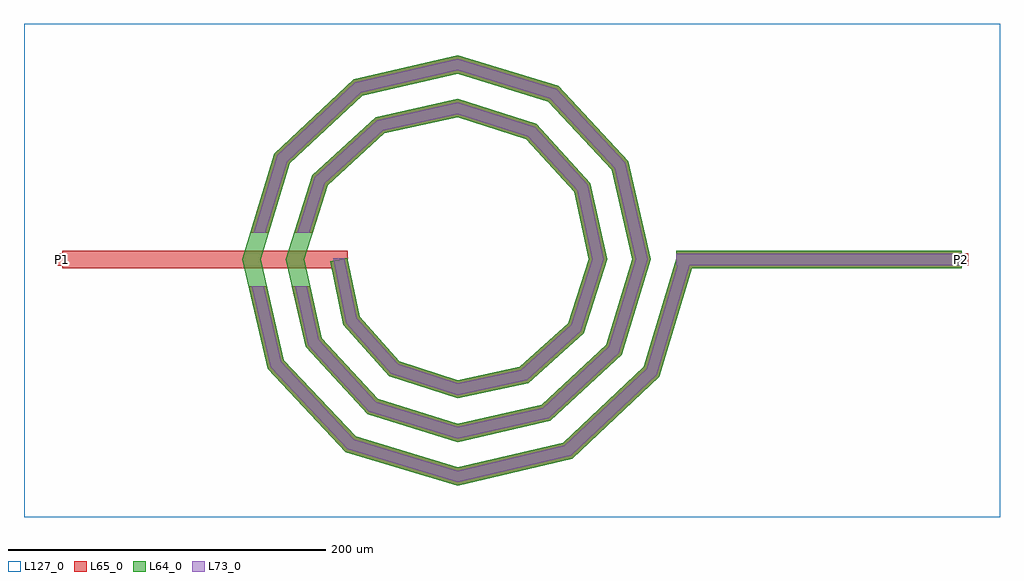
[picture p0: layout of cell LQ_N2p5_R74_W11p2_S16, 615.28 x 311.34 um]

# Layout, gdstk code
import gdstk
lib = gdstk.Library(unit=1e-6, precision=1e-09)
def R(c, l, rs):  # rectangles x0, y0, x1, y1
    for r in rs: c.add(gdstk.rectangle(r[:2], r[2:], *l))
def P(c, l, *ps):  # polygons
    for p in ps: c.add(gdstk.Polygon(p, *l))
L64_0 = (64, 0)
L65_0 = (65, 0)
L73_0 = (73, 0)
L127_0 = (127, 0)

lq_n2p5_r74_w11p2_s16 = lib.new_cell('LQ_N2p5_R74_W11p2_S16')
R(lq_n2p5_r74_w11p2_s16, L64_0, [(138.031,-5.6,318.031,5.6)])
P(lq_n2p5_r74_w11p2_s16, L64_0, [(-61.633,-35.955),(-36.552,-63.935),(0.303,-75.937),(39.37,-67.601),(69.878,-40.012),(82.815,0.28),(73.569,42.79),(43.469,75.823),(0.26,89.692),(-46.212,79.534),(-81.77,46.924),(-96.569,0.242),(-85.498,-49.636),(-50.376,-87.718),(0.227,-103.447),(53.062,-91.462),(93.667,-53.827),(110.325,0.214),(97.425,56.49),(57.277,99.617),(0.202,117.202),(-59.919,103.387),(-105.568,60.726),(-124.08,0.191),(-109.348,-63.349),(-64.173,-111.52),(0.181,-130.958),(66.78,-115.309),(117.472,-67.62),(138.268,1.611),(148.995,-1.611),(127.334,-73.719),(72.266,-125.525),(0.181,-142.548),(-70.287,-121.373),(-119.573,-68.819),(-135.67,0.191),(-115.411,66.857),(-65.371,113.621),(0.202,128.791),(63.427,109.448),(107.67,61.922),(121.913,0.214),(103.485,-59.999),(58.471,-101.719),(0.227,-115.034),(-56.572,-97.521),(-95.77,-55.019),(-108.156,0.242),(-91.556,53.146),(-51.565,89.821),(0.26,101.277),(49.722,85.59),(83.873,48.109),(94.398,0.28),(79.622,-46.301),(44.651,-77.927),(0.303,-87.519),(-42.883,-73.652),(-71.982,-41.188),(-80.332,-1.143),(-69.368,1.143)])
R(lq_n2p5_r74_w11p2_s16, L65_0, [(-249.25,-5.6,-69.25,5.6), (138.031,-5.6,318.031,5.6), (-253.25,-4,-245.25,4), (314.031,-4,322.031,4)])
P(lq_n2p5_r74_w11p2_s16, L65_0, [(-109.348,-63.349),(-64.173,-111.52),(0.181,-130.958),(66.78,-115.309),(117.472,-67.62),(138.268,1.611),(148.995,-1.611),(127.334,-73.719),(72.266,-125.525),(0.181,-142.548),(-70.287,-121.373),(-119.573,-68.819),(-131.707,-16.8),(-120.206,-16.8)],
  [(-85.499,-49.636),(-50.377,-87.718),(0.227,-103.447),(53.062,-91.462),(93.667,-53.827),(110.325,0.214),(97.425,56.49),(57.277,99.618),(0.202,117.202),(-59.919,103.387),(-105.568,60.726),(-118.917,16.8),(-130.623,16.8),(-115.411,66.857),(-65.371,113.621),(0.202,128.792),(63.427,109.448),(107.67,61.922),(121.913,0.214),(103.485,-59.999),(58.471,-101.72),(0.227,-115.034),(-56.572,-97.521),(-95.77,-55.019),(-104.336,-16.8),(-92.858,-16.8)],
  [(-36.552,-63.935),(0.303,-75.938),(39.37,-67.602),(69.878,-40.012),(82.815,0.28),(73.569,42.79),(43.469,75.823),(0.26,89.692),(-46.212,79.534),(-81.77,46.924),(-91.222,16.8),(-102.96,16.8),(-91.556,53.146),(-51.565,89.821),(0.26,101.277),(49.722,85.59),(83.873,48.109),(94.398,0.28),(79.622,-46.301),(44.651,-77.927),(0.303,-87.519),(-42.883,-73.652),(-71.982,-41.188),(-80.332,-1.143),(-69.368,1.143),(-61.633,-35.955)])
R(lq_n2p5_r74_w11p2_s16, L73_0, [(138.031,-3.6,318.031,3.6)])
P(lq_n2p5_r74_w11p2_s16, L73_0, [(-111.174,-64.326),(-65.265,-113.279),(0.117,-133.028),(67.76,-117.134),(119.233,-68.709),(140.184,1.036),(147.079,-1.036),(125.573,-72.63),(71.286,-123.701),(0.117,-140.479),(-69.196,-119.613),(-117.747,-67.842),(-129.653,-16.8),(-122.26,-16.8)],
  [(-87.333,-50.597),(-51.483,-89.469),(0.146,-105.516),(54.028,-93.294),(95.421,-54.929),(112.394,0.137),(99.254,57.46),(58.375,101.373),(0.13,119.272),(-60.892,105.214),(-107.326,61.82),(-121.007,16.8),(-128.532,16.8),(-113.653,65.762),(-64.397,111.794),(0.13,126.722),(62.329,107.693),(105.841,60.952),(119.844,0.137),(101.732,-58.897),(57.505,-99.888),(0.146,-112.965),(-55.465,-95.771),(-93.936,-54.058),(-102.286,-16.8),(-94.908,-16.8)],
  [(-37.683,-65.67),(0.195,-78.006),(40.313,-69.445),(71.618,-41.135),(84.883,0.18),(75.409,43.74),(44.586,77.567),(0.167,91.761),(-47.168,81.371),(-83.518,48.035),(-93.318,16.8),(-100.864,16.8),(-89.809,52.035),(-50.609,87.984),(0.167,99.208),(48.606,83.846),(82.033,47.16),(92.33,0.18),(77.882,-45.178),(43.708,-76.083),(0.195,-85.451),(-41.753,-71.917),(-70.134,-40.254),(-78.374,0.735),(-71.326,0.735),(-63.481,-36.889)])
R(lq_n2p5_r74_w11p2_s16, L127_0, [(-273.25,-162.548,342.031,148.792)])
lq_n2p5_r74_w11p2_s16.add(gdstk.Label('P2', (318.031,0), layer=65, texttype=0))
lq_n2p5_r74_w11p2_s16.add(gdstk.Label('P1', (-249.25,0), layer=65, texttype=0))
lq_n2p5_r74_w11p2_s16.add(gdstk.Label('P2', (322.031,0), layer=145, texttype=0))
lq_n2p5_r74_w11p2_s16.add(gdstk.Label('P1', (-253.25,0), layer=145, texttype=0))

lib.write_gds('LQ_N2p5_R74_W11p2_S16.gds')
